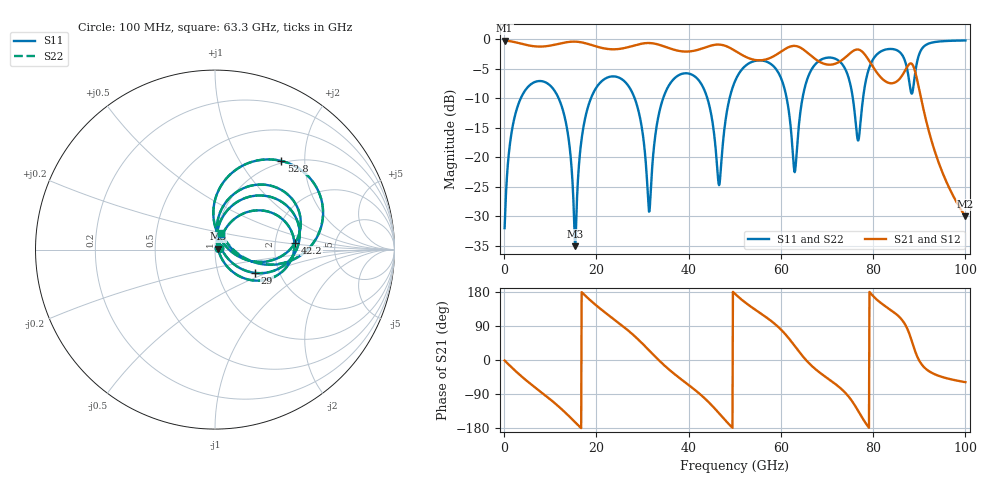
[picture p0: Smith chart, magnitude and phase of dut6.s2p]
! Touchstone file exported from HFSS 2026.1.0
!  File:  C:/ffzhzh/LocalFiles/Ansys_Project_Files/temp_train_TSV_RDL_6_1783436430_28540.aedt
!  Generated:  11:12:41 PM Jul  7, 2026
!  Design:  TSV_RDL
!  Project:  temp_train_TSV_RDL_6_1783436430_28540
! Variables:
!  h_bsmrdl = 3.92um
!  h_ox = 20um
!  h_rdl = 5um
!  h_sub = 92.33um
!  h_tmrdl = 2.26um
!  h_tsv = 92.33um
!  h_via = 3um
!  l_bsmrdl = 521.39um
!  l_sub = 3104.2um
!  l_tmrdl = 259.8um
!  m_sub = 200um
!  pitch = 48.95um
!  r_tsv = 14.69um
!  s_tmrdl = 10um
!  w_bsmrdl = 23.04um
!  w_sub = 500um
!  w_tmrdl = 10.57um
!  x_tsv_center1 = 265.085um
!  x_tsv_center2 = 809.515um
!  x_tsv_center3 = 1079.885um
!  x_tsv_center4 = 1624.315um
!  x_tsv_center5 = 1894.685um
!  x_tsv_center6 = 2439.115um
# GHz S MA R 50.000000
! Terminal data exported
! Port[1] = TM_RDL1_1_T1
! Port[2] = TM_RDL5_1_T1
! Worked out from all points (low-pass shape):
!   1000 points, 100 MHz to 100 GHz, reference 50 ohm
!   highest |S21| = -0.20 dB at 100 MHz (marker M1); lowest = -30.0 dB at 100 GHz (marker M2)
!   |S21| within 3 dB of the highest: start of sweep to 53.05 GHz; 57.53 GHz to 67.22 GHz (9.685 GHz wide, 15.5 % of centre) (the widest 2 of 3)
!   lowest |S11| = -35.1 dB at 15.4 GHz (marker M3), VSWR 1.04, Z = 51.7 + j0.443 ohm
!   |S11| at or under -10 dB: 11.82 GHz to 18.81 GHz (6.99 GHz wide, 45.6 % of centre); 28.3 GHz to 34.47 GHz (6.163 GHz wide, 19.6 % of centre); 44.06 GHz to 48.87 GHz (4.811 GHz wide, 10.4 % of centre) (the widest 3 of 6)
!   |S22| runs from -35.4 to -0.2 dB; largest |S21 - S12| = 2.5e-13
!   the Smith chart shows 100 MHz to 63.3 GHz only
!   S11 on the Smith chart (normalised r, x): 100 MHz: 1.05, +0.02; 29 GHz: 1.51, -0.42; 42.2 GHz: 2.60, +0.25; 52.8 GHz: 0.97, +1.54; 63.3 GHz: 1.05, +0.19
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0.1  0.0251 25.3  0.9775 -1.3  0.9775 -1.3  0.0251 25.3
! Gamma 0 0 0 0
! Port Impedance 50 0 50 0
2.5  0.2381 53.9  0.9436 -29.4  0.9436 -29.4  0.2381 53.9
7.8  0.4436 4.9  0.8689 -82.8  0.8689 -82.8  0.4436 4.9
12.9  0.2381 -43.3  0.936 -134.7  0.936 -134.7  0.2381 -43.4
15.4  0.01764 14.0  0.9567 -164.2  0.9567 -164.2  0.01698 13.9
16.8  0.1435 80.3  0.943 179.0  0.943 179.0  0.1434 80.6
22  0.4669 32.2  0.8342 124.2  0.8342 124.2  0.4669 32.3
29  0.2588 -30.1  0.9051 54.9  0.9051 54.9  0.2589 -30.1
31.4  0.03458 16.0  0.9312 25.8  0.9312 25.8  0.0345 15.8
33.4  0.2184 81.5  0.9047 1.1  0.9047 1.1  0.2182 81.6
42.2  0.4491 4.9  0.8198 -87.3  0.8198 -87.3  0.449 5.0
46.6  0.05801 37.3  0.9036 -140.7  0.9036 -140.7  0.05857 37.5
50.1  0.4466 76.7  0.7984 174.1  0.7984 174.1  0.4466 76.7
52.8  0.6168 53.2  0.6984 146.9  0.6984 146.9  0.6168 53.3
59.6  0.5092 -0.8  0.767 85.2  0.767 85.2  0.5092 -0.6
63.3  0.09502 69.1  0.8777 32.2  0.8777 32.2  0.09731 68.2
66.7  0.5596 68.7  0.7179 -15.6  0.7179 -15.6  0.5601 68.4
75.4  0.3551 -0.3  0.7848 -108.2  0.7848 -108.2  0.3552 -0.4
78.1  0.3813 87.2  0.7524 -161.4  0.7524 -161.4  0.381 87.1
83.4  0.8285 44.5  0.4272 135.5  0.4272 135.5  0.8283 44.4
89  0.4811 67.8  0.5512 26.8  0.5512 26.8  0.4795 68.0
100  0.9791 26.3  0.03154 -58.5  0.03154 -58.5  0.9791 26.3
